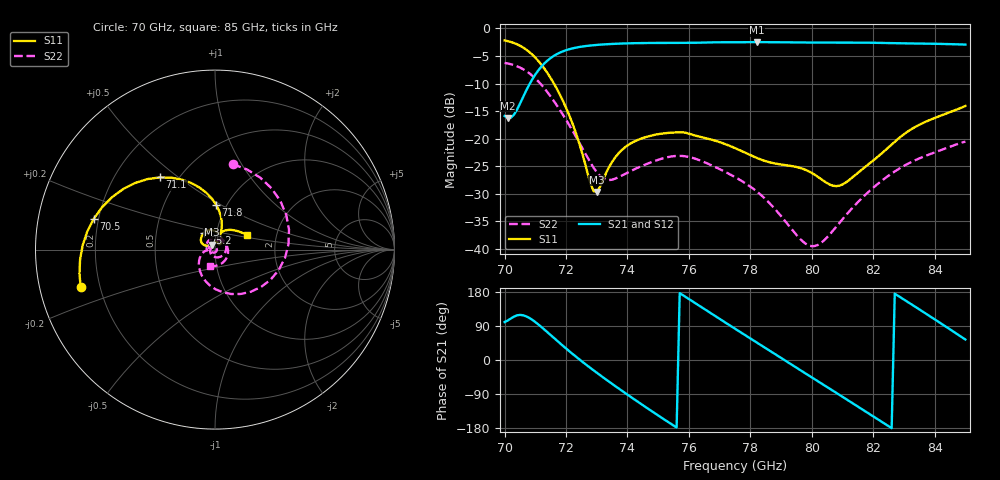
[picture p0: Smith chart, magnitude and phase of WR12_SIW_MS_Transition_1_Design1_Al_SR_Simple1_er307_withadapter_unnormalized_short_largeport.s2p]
! Touchstone file exported from HFSS 2020.1.3
!  File:  /home/erdoel/scratch/P2S30/WR12_SIW_MS_Transition_1.aedt
!  Generated:  10:58:58 AM  Feb 20, 2021
!  Design:  Design1_Al_SR_Simple1_er307_withadapter1
!  Project:  WR12_SIW_MS_Transition_1
!  Setup:  Setup1
!  Solution:  Sweep
! Variables:
!  T_L2 = 35um
!  fil = 0.3mm
!  hm = 0.36mm
!  hsub = 0.127mm
!  hwg = 1.55mm
!  l1 = 1.05mm
!  lcav = 1.92mm
!  len50 = 12.48mm
!  lt = 0.7mm
!  offx = 0um
!  offy = 0um
!  rvia = 0.075mm
!  s1 = 1.33mm
!  shift = 20um
!  sl = 3.1mm
!  sy = 0.65mm
!  th = 35um
!  w1 = 1.17mm
!  w50 = 300um
!  wcav = 3.45mm
!  wm = 1.9mm
!  wslot = 1.5mm
!  wt = 0.6mm
!  wwg = 3.1mm
!Data is not renormalized
# GHZ S MA
! Terminal data exported
! Port[1] = _WG
! Port[2] = MS
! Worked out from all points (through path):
!   151 points, 70 GHz to 85 GHz, reference per port
!   highest |S21| = -2.49 dB at 78.2 GHz (marker M1); lowest = -16.2 dB at 70.1 GHz (marker M2)
!   lowest |S11| = -29.7 dB at 73 GHz (marker M3), VSWR 1.07
!   |S11| at or under -10 dB: 71.61 GHz to end of sweep
!   |S22| runs from -39.5 to -6.3 dB; largest |S21 - S12| = 1.3e-14
!   S11 on the Smith chart (normalised r, x): 70 GHz: 0.13, -0.14; 70.5 GHz: 0.18, +0.12; 71.1 GHz: 0.40, +0.43; 71.8 GHz: 0.89, +0.48; 75.2 GHz: 0.87, +0.17; 85 GHz: 1.42, +0.24
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70  0.7775 -164.2  0.1607 100.2  0.1607 100.2  0.4863 78.4
! Gamma 0.293141099784131 1044.04702346873 0 0 0 0 12.5029364911039 2324.13663767754
! Port Impedance538.149285174616 0.0908283845953357 0 0 0 0 48.5438082387439 -0.17371134967966
70.1  0.7669 -169.9  0.1543 104.1  0.1543 104.1  0.4807 68.2
70.5  0.697 165.8  0.2078 119.0  0.2078 119.0  0.4415 26.0
71.1  0.506 127.3  0.4174 93.8  0.4174 93.8  0.3302 -39.2
71.8  0.2508 88.7  0.6034 44.3  0.6034 44.3  0.1821 -107.3
72.5  0.07826 71.6  0.6832 -2.7  0.6832 -2.7  0.08515 -157.4
73  0.03291 125.6  0.7084 -33.6  0.7084 -33.6  0.04969 -173.3
74  0.08686 151.3  0.732 -91.5  0.732 -91.5  0.04925 168.5
75  0.11 126.8  0.7385 -146.4  0.7385 -146.4  0.06443 110.2
75.2  0.112 121.8  0.7389 -157.1  0.7389 -157.1  0.06694 96.3
76.2  0.1069 94.9  0.7409 150.3  0.7409 150.3  0.06598 20.0
76.9  0.09512 79.5  0.7484 113.7  0.7484 113.7  0.05465 -31.2
77.5  0.08222 67.5  0.7487 82.6  0.7487 82.6  0.0449 -75.6
78.2  0.06713 58.8  0.751 46.3  0.751 46.3  0.0334 -134.4
79.1  0.05788 54.2  0.7476 -0.0  0.7476 -0.0  0.01839 132.9
80  0.04895 45.3  0.7438 -45.9  0.7438 -45.9  0.01062 10.4
80.6  0.03825 51.4  0.7444 -76.5  0.7444 -76.5  0.01372 -73.2
81.2  0.04189 71.1  0.7454 -107.4  0.7454 -107.4  0.02163 -134.4
82.5  0.08372 75.0  0.7349 -174.7  0.7349 -174.7  0.04627 113.5
83.2  0.12 62.3  0.7304 149.2  0.7304 149.2  0.06074 53.2
83.9  0.1503 46.0  0.7263 112.6  0.7263 112.6  0.07339 -6.4
85  0.198 24.4  0.7133 54.1  0.7133 54.1  0.09424 -106.1
